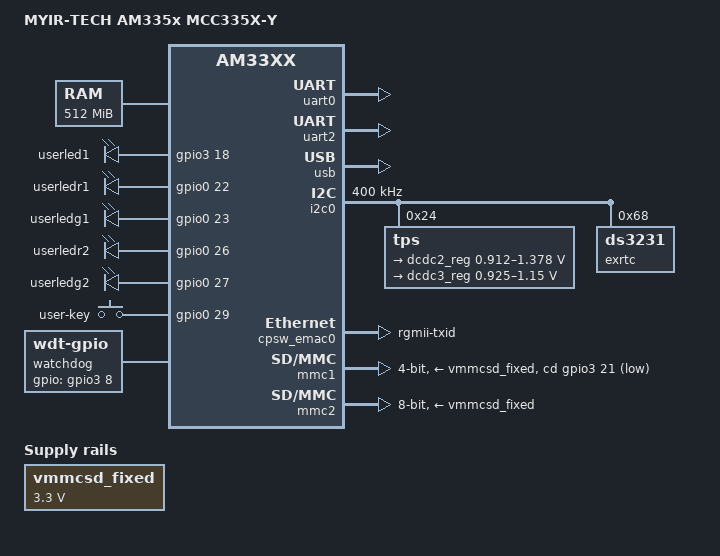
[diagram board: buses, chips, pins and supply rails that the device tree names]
/*
 * Copyright (C) 2012 Texas Instruments Incorporated - http://www.ti.com/
 *
 * This program is free software; you can redistribute it and/or modify
 * it under the terms of the GNU General Public License version 2 as
 * published by the Free Software Foundation.
 */
/dts-v1/;

#include "am33xx.dtsi"

/ {
	model = "MYIR-TECH AM335x MCC335X-Y";
	compatible = "myir-tech,mcc335x-y", "ti,am33xx";

	cpus {
		cpu@0 {
			cpu0-supply = <&dcdc2_reg>;
		};
	};

	memory {
		device_type = "memory";
		reg = <0x80000000 0x20000000>; /* 512 MB */
	};

	leds {
		pinctrl-names = "default", "sleep";
		pinctrl-0 = <&user_leds_default>;
		pinctrl-1 = <&user_leds_sleep>;

		compatible = "gpio-leds";

		led@1 {
			label = "userled1";
			gpios = <&gpio3 18 GPIO_ACTIVE_HIGH>;
			linux,default-trigger = "heartbeat";
			default-state = "off";
		};

		led@2 {
			label = "userledr1";
			gpios = <&gpio0 22 GPIO_ACTIVE_HIGH>;
			default-state = "off";
		};

		led@3 {
			label = "userledg1";
			gpios = <&gpio0 23 GPIO_ACTIVE_HIGH>;
			default-state = "off";
		};

		led@4 {
			label = "userledr2";
			gpios = <&gpio0 26 GPIO_ACTIVE_HIGH>;
			default-state = "off";
		};

		led@5 {
			label = "userledg2";
			gpios = <&gpio0 27 GPIO_ACTIVE_HIGH>;
			default-state = "off";
		};
	};

	keys {
		compatible ="gpio-keys";
		#address-cells = <1>;
		#size-cells = <0>;

		user-key {
			lable = "user-key1";
			gpios = <&gpio0 29 GPIO_ACTIVE_HIGH>;
			debounce-interval = <50>;
			linux,code = <108>;
			autorepeat; 
		};
	};

     	watchdog {
		pinctrl-name = "default";
		pinctrl-0 = <&wdt_wdi_pinmux>;
        	compatible = "linux,wdt-gpio";
        	gpios = <&gpio3 8 GPIO_ACTIVE_HIGH>;
        	hw_algo = "toggle";
        	hw_margin_ms = <1600>; 
    	};

	vmmcsd_fixed: fixedregulator@0 {
		compatible = "regulator-fixed";
		regulator-name = "vmmcsd_fixed";
		regulator-min-microvolt = <3300000>;
		regulator-max-microvolt = <3300000>;
	};
};

&am33xx_pinmux {
	pinctrl-names = "default";
	pinctrl-0 =<&user_misc_pinmux>;
	
	user_misc_pinmux: user_misc_pinmux {
		pinctrl-single,pins = <
			0x108 (PIN_INPUT_PULLUP | MUX_MODE7)	/*mii1_col.gpio3_0 K1*/
			0x144 (PIN_INPUT_PULLUP | MUX_MODE7)	/*rmii1_ref_clk.gpio0_29 K2*/
			0x020 (PIN_OUTPUT_PULLUP | MUX_MODE7)	/*gpmcad8.gpio0_22 R1*/
			0x024 (PIN_OUTPUT_PULLUP | MUX_MODE7)	/*gpmcad9.gpio0_23 G1*/
			0x028 (PIN_OUTPUT_PULLUP | MUX_MODE7)	/*gpmcad9.gpio0_26 R1*/
			0x02C (PIN_OUTPUT_PULLUP | MUX_MODE7)	/*gpmcad9.gpio0_27 G1*/
		>;

	};

	wdt_wdi_pinmux: wdt_wdi_pinmux{
		pinctl-single,pins = <
			0X1E8 (PIN_OUTPUT_PULLUP | MUX_MODE7) 	/*emu1.gpio3_8*/
		>;
	};

	user_leds_default: user_leds_default {
		pinctrl-single,pins = <
			0x1a0 (PIN_OUTPUT_PULLUP | MUX_MODE7)	/* mcasp0_aclkr.gpio3_18 */
		>;
	};

	user_leds_sleep: user_leds_sleep {
		pinctrl-single,pins = <
			0x1a0 (PIN_OUTPUT_PULLUP | MUX_MODE7)	/* mcasp0_aclkr.gpio3_18 */
		>;
	};

	i2c0_pins: pinmux_i2c0_pins {
		pinctrl-single,pins = <
			0x188 (PIN_INPUT_PULLUP | MUX_MODE0)	/* i2c0_sda.i2c0_sda */
			0x18c (PIN_INPUT_PULLUP | MUX_MODE0)	/* i2c0_scl.i2c0_scl */
		>;
	};

	uart0_pins: pinmux_uart0_pins {
		pinctrl-single,pins = <
			0x170 (PIN_INPUT_PULLUP | MUX_MODE0)	/* uart0_rxd.uart0_rxd */
			0x174 (PIN_OUTPUT_PULLDOWN | MUX_MODE0)	/* uart0_txd.uart0_txd */
		>;
	};

	uart2_pins: pinmux_uart2_pins {
		pinctrl-single,pins = <
			0x10C (PIN_INPUT_PULLUP | MUX_MODE6)	/* mii1_crs.uart2_rxd */
			0x110 (PIN_OUTPUT_PULLUP | MUX_MODE6)	/* mii1_rx_er.uart2_txd */
		>;
	};

	cpsw_default: cpsw_default {
		pinctrl-single,pins = <
			/* Slave 1 */
			0x114 (PIN_OUTPUT_PULLDOWN | MUX_MODE2)	/* mii1_txen.rgmii1_tctl */
			0x118 (PIN_INPUT_PULLUP | MUX_MODE2)	/* mii1_rxdv.rgmii1_rctl */
			0x11c (PIN_OUTPUT_PULLDOWN | MUX_MODE2)	/* mii1_txd3.rgmii1_txd3 */
			0x120 (PIN_OUTPUT_PULLDOWN | MUX_MODE2)	/* mii1_txd2.rgmii1_txd2 */
			0x124 (PIN_OUTPUT_PULLDOWN | MUX_MODE2)	/* mii1_txd1.rgmii1_txd1 */
			0x128 (PIN_OUTPUT_PULLDOWN | MUX_MODE2)	/* mii1_txd0.rgmii1_txd0 */
			0x12c (PIN_INPUT_PULLUP | MUX_MODE2)	/* mii1_txclk.rgmii1_txclk */
			0x130 (PIN_INPUT_PULLUP | MUX_MODE2)	/* mii1_rxclk.rgmii1_rxclk */
			0x134 (PIN_INPUT_PULLUP | MUX_MODE2)	/* mii1_rxd3.rgmii1_rxd3 */
			0x138 (PIN_INPUT_PULLUP | MUX_MODE2)	/* mii1_rxd2.rgmii1_rxd2 */
			0x13c (PIN_INPUT_PULLUP | MUX_MODE2)	/* mii1_rxd1.rgmii1_rxd1 */
			0x140 (PIN_INPUT_PULLUP | MUX_MODE2)	/* mii1_rxd0.rgmii1_rxd0 */
		>;
	};

	cpsw_sleep: cpsw_sleep {
		pinctrl-single,pins = <
			/* Slave 1 reset value */
			0x114 (PIN_INPUT_PULLDOWN | MUX_MODE7)
			0x118 (PIN_INPUT_PULLDOWN | MUX_MODE7)
			0x11c (PIN_INPUT_PULLDOWN | MUX_MODE7)
			0x120 (PIN_INPUT_PULLDOWN | MUX_MODE7)
			0x124 (PIN_INPUT_PULLDOWN | MUX_MODE7)
			0x128 (PIN_INPUT_PULLDOWN | MUX_MODE7)
			0x12c (PIN_INPUT_PULLDOWN | MUX_MODE7)
			0x130 (PIN_INPUT_PULLDOWN | MUX_MODE7)
			0x134 (PIN_INPUT_PULLDOWN | MUX_MODE7)
			0x138 (PIN_INPUT_PULLDOWN | MUX_MODE7)
			0x13c (PIN_INPUT_PULLDOWN | MUX_MODE7)
			0x140 (PIN_INPUT_PULLDOWN | MUX_MODE7)
		>;
	};

	davinci_mdio_default: davinci_mdio_default {
		pinctrl-single,pins = <
			/* MDIO */
			0x148 (PIN_INPUT_PULLUP | SLEWCTRL_FAST | MUX_MODE0)	/* mdio_data.mdio_data */
			0x14c (PIN_OUTPUT_PULLUP | MUX_MODE0)			/* mdio_clk.mdio_clk */
		>;
	};

	davinci_mdio_sleep: davinci_mdio_sleep {
		pinctrl-single,pins = <
			/* MDIO reset value */
			0x148 (PIN_INPUT_PULLDOWN | MUX_MODE7)
			0x14c (PIN_INPUT_PULLDOWN | MUX_MODE7)
		>;
	};

	mmc1_pins_default: pinmux_mmc1_pins {
		pinctrl-single,pins = <
			0x0F0 (PIN_INPUT_PULLUP | MUX_MODE0)	/* mmc0_dat3.mmc0_dat3 */
			0x0F4 (PIN_INPUT_PULLUP | MUX_MODE0)	/* mmc0_dat2.mmc0_dat2 */
			0x0F8 (PIN_INPUT_PULLUP | MUX_MODE0)	/* mmc0_dat1.mmc0_dat1 */
			0x0FC (PIN_INPUT_PULLUP | MUX_MODE0)	/* mmc0_dat0.mmc0_dat0 */
			0x100 (PIN_INPUT_PULLUP | MUX_MODE0)	/* mmc0_clk.mmc0_clk */
			0x104 (PIN_INPUT_PULLUP | MUX_MODE0)	/* mmc0_cmd.mmc0_cmd */
			0x1AC (PIN_INPUT_PULLUP | MUX_MODE7)	/* mcasp0_ahclkx.gpio3_21 */
		>;
	};

	mmc1_pins_sleep: pinmux_mmc1_pins_sleep {
		pinctrl-single,pins = <
			0x0F0 (PIN_INPUT_PULLDOWN | MUX_MODE7)
			0x0F4 (PIN_INPUT_PULLDOWN | MUX_MODE7)
			0x0F8 (PIN_INPUT_PULLDOWN | MUX_MODE7)
			0x0FC (PIN_INPUT_PULLDOWN | MUX_MODE7)
			0x100 (PIN_INPUT_PULLDOWN | MUX_MODE7)
			0x104 (PIN_INPUT_PULLDOWN | MUX_MODE7)
			0x1AC (PIN_INPUT_PULLDOWN | MUX_MODE7)
		>;
	};

	emmc_pins: pinmux_emmc_pins {
		pinctrl-single,pins = <
			0x80 (PIN_INPUT_PULLUP | MUX_MODE2) /* gpmc_csn1.mmc1_clk */
			0x84 (PIN_INPUT_PULLUP | MUX_MODE2) /* gpmc_csn2.mmc1_cmd */
			0x00 (PIN_INPUT_PULLUP | MUX_MODE1) /* gpmc_ad0.mmc1_dat0 */
			0x04 (PIN_INPUT_PULLUP | MUX_MODE1) /* gpmc_ad1.mmc1_dat1 */
			0x08 (PIN_INPUT_PULLUP | MUX_MODE1) /* gpmc_ad2.mmc1_dat2 */
			0x0c (PIN_INPUT_PULLUP | MUX_MODE1) /* gpmc_ad3.mmc1_dat3 */
			0x10 (PIN_INPUT_PULLUP | MUX_MODE1) /* gpmc_ad4.mmc1_dat4 */
			0x14 (PIN_INPUT_PULLUP | MUX_MODE1) /* gpmc_ad5.mmc1_dat5 */
			0x18 (PIN_INPUT_PULLUP | MUX_MODE1) /* gpmc_ad6.mmc1_dat6 */
			0x1c (PIN_INPUT_PULLUP | MUX_MODE1) /* gpmc_ad7.mmc1_dat7 */
		>;
	};
};

&pruss {
	status = "disable";
};

&uart0 {
	pinctrl-names = "default";
	pinctrl-0 = <&uart0_pins>;
	status = "okay";
};

&uart2 {
	pinctrl-names = "default";
	pinctrl-0 = <&uart2_pins>;
	status = "okay";
};

&usb {
	status = "okay";

	control@44e10620 {
		status = "okay";
	};

	usb-phy@47401300 {
		status = "okay";
	};

	usb-phy@47401b00 {
		status = "okay";
	};

	usb@47401000 {
		status = "okay";
		dr_mode = "peripheral";
	};

	usb@47401800 {
		status = "okay";
		dr_mode = "host";
	};

	dma-controller@47402000  {
		status = "okay";
	};
};

&i2c0 {
	pinctrl-names = "default";
	pinctrl-0 = <&i2c0_pins>;

	status = "okay";
	clock-frequency = <400000>;

	tps: tps@24 {
		reg = <0x24>;
	};

	exrtc: exrtc@68 {
		compatible ="ds3231";
		reg = <0x68>;
	};

};

/include/ "tps65217.dtsi"

&tps {
	ti,pmic-shutdown-controller;

	regulators {
		dcdc1_reg: regulator@0 {
			regulator-always-on;
		};

		dcdc2_reg: regulator@1 {
			/* VDD_MPU voltage limits 0.95V - 1.325V with +/-4% tolerance */
			regulator-name = "vdd_mpu";
			regulator-min-microvolt = <912500>;
			regulator-max-microvolt = <1378000>;
			regulator-boot-on;
			regulator-always-on;
		};

		dcdc3_reg: regulator@2 {
			/* VDD_CORE voltage limits 0.95V - 1.1V with +/-4% tolerance */
			regulator-name = "vdd_core";
			regulator-min-microvolt = <925000>;
			regulator-max-microvolt = <1150000>;
			regulator-boot-on;
			regulator-always-on;
		};

		ldo1_reg: regulator@3 {
			regulator-always-on;
		};

		ldo2_reg: regulator@4 {
			regulator-always-on;
		};

		ldo3_reg: regulator@5 {
			regulator-always-on;
		};

		ldo4_reg: regulator@6 {
			regulator-always-on;
		};

		rtc@44e3e000 {
			ti,system-power-controller;
		};
	};
};

&cpsw_emac0 {
	phy_id = <&davinci_mdio>, <4>;
	phy-mode = "rgmii-txid";
};

&cpsw_emac1 {
	phy_id = <&davinci_mdio>, <1>;
	phy-mode = "rgmii-txid";
	status = "disable";
};

&mac {
	pinctrl-names = "default", "sleep";
	pinctrl-0 = <&cpsw_default>;
	pinctrl-1 = <&cpsw_sleep>;

};

&davinci_mdio {
	pinctrl-names = "default", "sleep";
	pinctrl-0 = <&davinci_mdio_default>;
	pinctrl-1 = <&davinci_mdio_sleep>;
};

&mmc1 {
	status = "okay";
	bus-width = <0x4>;
	pinctrl-names = "default", "sleep";
	pinctrl-0 = <&mmc1_pins_default>;
	pinctrl-1 = <&mmc1_pins_sleep>;
 	vmmc-supply = <&vmmcsd_fixed>;
	cd-gpios = <&gpio3 21 GPIO_ACTIVE_HIGH>;
	cd-inverted;
};

&mmc2 {
        vmmc-supply = <&vmmcsd_fixed>;
        pinctrl-names = "default";
        pinctrl-0 = <&emmc_pins>;
        bus-width = <8>;
        status = "okay";
        ti,vcc-aux-disable-is-sleep;
};

&wkup_m3 {
	ti,scale-data-fw = "am335x-pm-firmware.bin";
};

&rtc {
	ti,system-power-controller;
};
